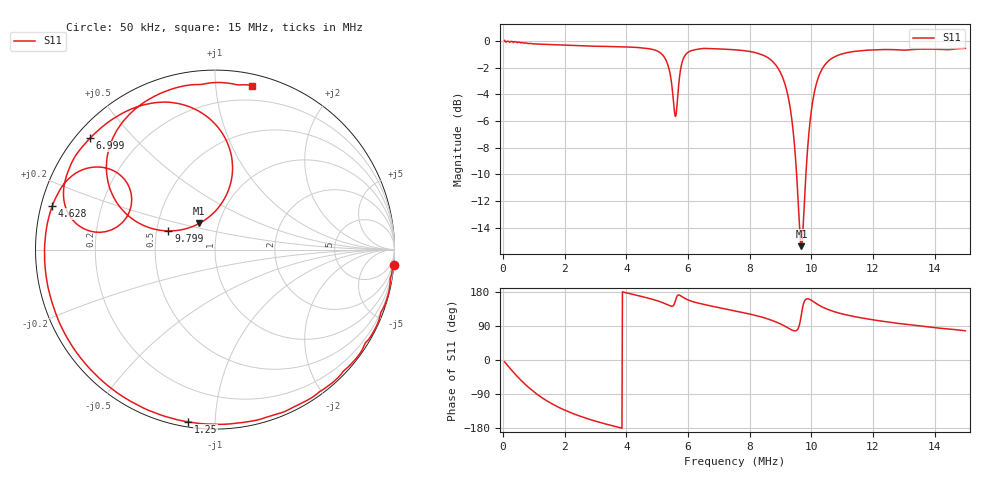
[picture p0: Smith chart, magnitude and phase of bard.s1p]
# Hz S RI R 50
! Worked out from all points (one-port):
!   1010 points, 50 kHz to 15 MHz, reference 50 ohm
!   lowest |S11| = -15.4 dB at 9.68 MHz (marker M1), VSWR 1.41, Z = 40.3 + j12.1 ohm
!   |S11| at or under -10 dB: 9.523 MHz to 9.825 MHz (301.3 kHz wide, 3.11 % of centre)
!   S11 on the Smith chart (normalised r, x): 50 kHz: -1, -23; 1.25 MHz: 0.03, -0.86; 4.628 MHz: 0.03, +0.13; 6.999 MHz: 0.04, +0.38; 9.799 MHz: 0.58, +0.13; 15 MHz: 0.08, +1.25
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50000  0.9999 -0.0871
316600  0.8536 -0.5037
627800  0.5333 -0.8283
924100  0.1862 -0.9588
1250000  -0.149 -0.96
1931616  -0.6169 -0.7414
2731616  -0.866 -0.4094
3798432  -0.95 -0.0216
4628048  -0.906 0.2445
5072548  -0.8184 0.3916
5368848  -0.6507 0.4602
5546648  -0.4672 0.3125
5665248  -0.6086 0.1
5798548  -0.8031 0.1781
5946748  -0.8439 0.298
6998664  -0.696 0.6212
7532080  -0.5897 0.7134
8776580  -0.185 0.8092
9117296  -0.00475 0.7051
9398896  0.0978 0.4636
9680396  -0.0881 0.1456
9798896  -0.2598 0.1041
9976696  -0.4837 0.1891
1.02285e7  -0.6021 0.4116
1.065821e7  -0.5495 0.6597
1.126571e7  -0.4088 0.811
1.313253e7  -0.0606 0.9226
1.499934e7  0.2085 0.914
